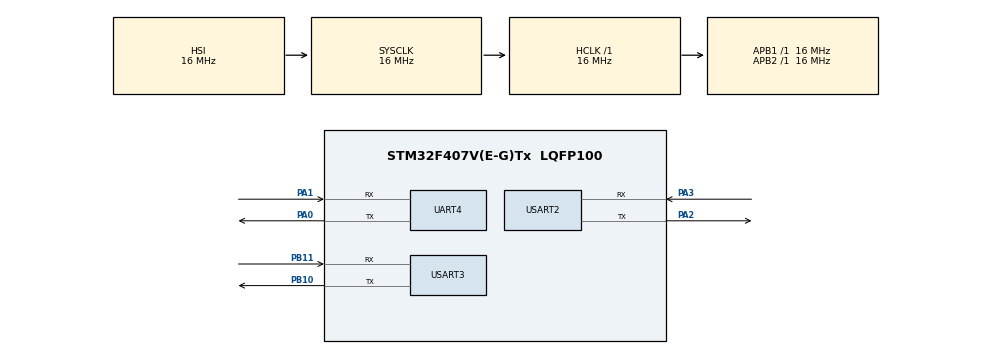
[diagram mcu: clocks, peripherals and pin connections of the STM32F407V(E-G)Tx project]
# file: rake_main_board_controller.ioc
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Mcu.Family=STM32F4
Mcu.Name=STM32F407V(E-G)Tx
Mcu.Package=LQFP100
NVIC.PriorityGroup=NVIC_PRIORITYGROUP_4
NVIC.TIM2_IRQn=true\:0\:0\:false\:false\:true\:true\:true
NVIC.UART4_IRQn=true\:0\:0\:false\:false\:true\:true\:true
NVIC.USART2_IRQn=true\:0\:0\:false\:false\:true\:true\:true
NVIC.USART3_IRQn=true\:0\:0\:false\:false\:true\:true\:true
PA0-WKUP.Mode=Asynchronous
PA0-WKUP.Signal=UART4_TX
PA1.Mode=Asynchronous
PA1.Signal=UART4_RX
PA13.Mode=Serial_Wire
PA13.Signal=SYS_JTMS-SWDIO
PA14.Mode=Serial_Wire
PA14.Signal=SYS_JTCK-SWCLK
PA2.Mode=Asynchronous
PA2.Signal=USART2_TX
PA3.Mode=Asynchronous
PA3.Signal=USART2_RX
PB10.Mode=Asynchronous
PB10.Signal=USART3_TX
PB11.Mode=Asynchronous
PB11.Signal=USART3_RX
PH0-OSC_IN.Mode=HSE-External-Oscillator
PH0-OSC_IN.Signal=RCC_OSC_IN
PH1-OSC_OUT.Mode=HSE-External-Oscillator
PH1-OSC_OUT.Signal=RCC_OSC_OUT
ProjectManager.HeapSize=0x200
ProjectManager.StackSize=0x400
ProjectManager.TargetToolchain=MDK-ARM V5
RCC.AHBFreq_Value=16000000
RCC.APB1Freq_Value=16000000
RCC.APB2Freq_Value=16000000
RCC.CortexFreq_Value=16000000
RCC.HSE_VALUE=25000000
RCC.HSI_VALUE=16000000
RCC.LSE_VALUE=32768
RCC.SYSCLKFreq_VALUE=16000000
RCC.VCOOutputFreq_Value=192000000
TIM2.Period=999
TIM2.Prescaler=15
UART4.VirtualMode=Asynchronous
USART2.VirtualMode=VM_ASYNC
USART3.VirtualMode=VM_ASYNC
VP_TIM2_VS_ClockSourceINT.Mode=Internal
board=custom

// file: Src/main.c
/* USER CODE BEGIN Header */
/**
  ******************************************************************************
  * @file           : main.c
  * @brief          : Main program body
  ******************************************************************************
  ** This notice applies to any and all portions of this file
  * that are not between comment pairs USER CODE BEGIN and
  * USER CODE END. Other portions of this file, whether
  * inserted by the user or by software development tools
  * are owned by their respective copyright owners.
  *
  * COPYRIGHT(c) 2021 STMicroelectronics
  *
  * Redistribution and use in source and binary forms, with or without modification,
  * are permitted provided that the following conditions are met:
  *   1. Redistributions of source code must retain the above copyright notice,
  *      this list of conditions and the following disclaimer.
  *   2. Redistributions in binary form must reproduce the above copyright notice,
  *      this list of conditions and the following disclaimer in the documentation
  *      and/or other materials provided with the distribution.
  *   3. Neither the name of STMicroelectronics nor the names of its contributors
  *      may be used to endorse or promote products derived from this software
  *      without specific prior written permission.
  *
  * THIS SOFTWARE IS PROVIDED BY THE COPYRIGHT HOLDERS AND CONTRIBUTORS "AS IS"
  * AND ANY EXPRESS OR IMPLIED WARRANTIES, INCLUDING, BUT NOT LIMITED TO, THE
  * IMPLIED WARRANTIES OF MERCHANTABILITY AND FITNESS FOR A PARTICULAR PURPOSE ARE
  * DISCLAIMED. IN NO EVENT SHALL THE COPYRIGHT HOLDER OR CONTRIBUTORS BE LIABLE
  * FOR ANY DIRECT, INDIRECT, INCIDENTAL, SPECIAL, EXEMPLARY, OR CONSEQUENTIAL
  * DAMAGES (INCLUDING, BUT NOT LIMITED TO, PROCUREMENT OF SUBSTITUTE GOODS OR
  * SERVICES; LOSS OF USE, DATA, OR PROFITS; OR BUSINESS INTERRUPTION) HOWEVER
  * CAUSED AND ON ANY THEORY OF LIABILITY, WHETHER IN CONTRACT, STRICT LIABILITY,
  * OR TORT (INCLUDING NEGLIGENCE OR OTHERWISE) ARISING IN ANY WAY OUT OF THE USE
  * OF THIS SOFTWARE, EVEN IF ADVISED OF THE POSSIBILITY OF SUCH DAMAGE.
  *
  ******************************************************************************
  */
/* USER CODE END Header */
#include "main.h"

/* USER CODE BEGIN PD */

#define TX_TIME 99

/* USER CODE END PD */

TIM_HandleTypeDef htim2;

UART_HandleTypeDef huart4;
UART_HandleTypeDef huart2;
UART_HandleTypeDef huart3;

/* USER CODE BEGIN PV */

typedef struct uartStruct {
	unsigned char rxData[14];
	unsigned char txBuffer[30];
	unsigned char rxBuffer[30];
	uint16_t txBufferLen;
} uart;

uart pc_uart;
uart motor1_uart;
uart motor2_uart;

typedef struct flagStruct {
	struct {
		_Bool motorForward_bit;
		_Bool motorBackward_bit;
		_Bool UART_bit;
		_Bool CANBUS_bit;
		_Bool adminMode_bit;
		_Bool testMode_bit;
		_Bool normalMode_bit;
		_Bool ERROR_bit;
	} LED;
	struct {
		uint8_t rxIndex_bool;
		_Bool rxComplete_bool;
	} UART;
}flag;

flag pc_flag;
flag motor1_flag;
flag motor2_flag;

//struct flagStruct flag = {{0,0,0,0,0,0,0,0},{0,0}};

typedef struct motorStruct {
	uint32_t RPM_u32;
	_Bool direction;
} desired;

desired motor1;
desired motor2;

uint16_t communicationUART_u16 = 0;

/* USER CODE END PV */

void SystemClock_Config(void);
static void MX_GPIO_Init(void);
static void MX_USART2_UART_Init(void);
static void MX_USART3_UART_Init(void);
static void MX_TIM2_Init(void);
static void MX_UART4_Init(void);
/* USER CODE BEGIN PFP */

//Timer interrupti geldigi zaman communicationUART_u16 degeri arttirildi
void HAL_TIM_PeriodElapsedCallback(TIM_HandleTypeDef *htim) {
	if(htim->Instance == TIM2) {
		communicationUART_u16++;
	}
}

//UART dan veri geldiginde verinin alinmasi saglandi
void RAKE_UART_Callback(uart *uart, UART_HandleTypeDef *huart,flag flag) {

		flag.LED.UART_bit = 1;

		//RX Buffer sifirlandi
		if(flag.UART.rxIndex_bool == 0) {
			for(uint8_t index; index < 30; index++) {
				uart->rxBuffer[index] = 0;
			}
		}
		if(uart->rxData[0] == 'S') {
			flag.UART.rxIndex_bool = 0;
		}

		//RX Buffer a veriler yazildi
		if(uart->rxData[0] != 'F'){
			uart->rxBuffer[flag.UART.rxIndex_bool++] = uart->rxData[0];
		} else {
			flag.UART.rxIndex_bool = 0;
			flag.UART.rxComplete_bool = 1;
		}

		HAL_UART_Receive_IT(huart, uart->rxData, 1);
}

/* USER CODE END PFP */

/* USER CODE BEGIN 0 */

//UART interrupti geldigi zaman gelen veriye göre pc ve STM32F103 lerden veri alimi saglandi
void HAL_UART_RxCpltCallback(UART_HandleTypeDef *huart) {
	if(huart->Instance == UART4){
		RAKE_UART_Callback(&pc_uart, &huart4, pc_flag);
	}else {
		pc_flag.LED.UART_bit = 0;
	}
	if(huart->Instance == USART2){
		RAKE_UART_Callback(&motor1_uart, &huart2, motor1_flag);
	}else {
		motor1_flag.LED.UART_bit = 0;
	}
	if(huart->Instance == USART3){
		RAKE_UART_Callback(&motor2_uart, &huart3, motor2_flag);
	}else {
		motor2_flag.LED.UART_bit = 0;
	}
}

//UART dan gelen veriyi kontrol edip motorun RPM ve direction degerleri belirlendi
void RAKE_Rx_Motor_Speed(void) {
	if(pc_flag.UART.rxComplete_bool == 1) {
		if(pc_uart.rxBuffer[10] == 'C') {

			//String olarak alinan degerler int e cevirildi
			motor1.RPM_u32 	=
															(pc_uart.rxBuffer[2] - '0') * 100 +
															(pc_uart.rxBuffer[3] - '0') * 10 +
															(pc_uart.rxBuffer[4] - '0');
			motor1.direction =
															(pc_uart.rxBuffer[1] - '0');

			motor2.RPM_u32 	=
															(pc_uart.rxBuffer[7] - '0') * 100 +
															(pc_uart.rxBuffer[8] - '0') * 10 +
															(pc_uart.rxBuffer[9] - '0');
			motor2.direction =
															(pc_uart.rxBuffer[6] - '0');

			pc_flag.UART.rxComplete_bool = 0;
		}
	}
}

void RAKE_Tx_Motor_Speed(void) {
	if(communicationUART_u16 > TX_TIME){
		/*
			Data Type --> "SavvvCF"
			S = Start								(char)
			a = measured.direction 	(integer)
			vvv = measured.RPM			(char[3])
			C = Control							(char)
			F = Finish							(char)
		*/

		//RPM ve direction verileri motorlara gönderildi
		int hun = 0, ten = 0, one = 0;

		hun = (motor1.RPM_u32 / 100);
		ten	= (motor1.RPM_u32 % 100) / 10;
		one	= (motor1.RPM_u32 % 10);

		motor1_uart.txBufferLen = sprintf(motor1_uart.txBuffer, "S%d%d%d%dCF",
															 motor1.direction, hun, ten, one);

		HAL_UART_Transmit_IT(&huart2, motor1_uart.txBuffer, motor1_uart.txBufferLen);

		hun = (motor2.RPM_u32 / 100);
		ten	= (motor2.RPM_u32 % 100) / 10;
		one	= (motor2.RPM_u32 % 10);

		motor2_uart.txBufferLen = sprintf(motor2_uart.txBuffer, "S%d%d%d%dCF",
															 motor2.direction, hun, ten, one);

		HAL_UART_Transmit_IT(&huart3, motor2_uart.txBuffer, motor2_uart.txBufferLen);

		//Motorlardan gelen veriler istenilen data formatina cevirildi
		strcat(motor1_uart.rxBuffer, motor2_uart.rxBuffer);
		motor1_uart.rxBuffer[12] = 'F';
		for (int c = 6 - 1; c < 12 - 1; c++) {
			motor1_uart.rxBuffer[c] = motor1_uart.rxBuffer[c+1];
		}
		motor1_uart.rxBuffer[5] = '-';
    strcpy(&motor1_uart.rxBuffer[10], &motor1_uart.rxBuffer[10 + 1]);

		HAL_UART_Transmit_IT(&huart4, motor1_uart.rxBuffer, sizeof(motor1_uart.rxBuffer));

		communicationUART_u16 = 0;
	}

}

/* USER CODE END 0 */

int main(void)
{

  /* MCU Configuration--------------------------------------------------------*/

  /* Reset of all peripherals, Initializes the Flash interface and the Systick. */
  HAL_Init();

  /* Configure the system clock */
  SystemClock_Config();

  /* Initialize all configured peripherals */
  MX_GPIO_Init();
  MX_USART2_UART_Init();
  MX_USART3_UART_Init();
  MX_TIM2_Init();
  MX_UART4_Init();
  /* USER CODE BEGIN 2 */

	//Baslangicta UART dan veri alma islemi gerceklestirildi
	HAL_UART_Receive_IT(&huart4, pc_uart.rxData, 1);
	HAL_UART_Receive_IT(&huart2, motor1_uart.rxData, 1);
	HAL_UART_Receive_IT(&huart3, motor2_uart.rxData, 1);

	//Baslangicta TIM_Interrupt baslatildi
	HAL_TIM_Base_Start_IT(&htim2);

  /* USER CODE END 2 */

  /* Infinite loop */
  while (1)
  {

    /* USER CODE BEGIN 3 */

		RAKE_Rx_Motor_Speed();
		RAKE_Tx_Motor_Speed();

  }
  /* USER CODE END 3 */
}

void SystemClock_Config(void)
{
  RCC_OscInitTypeDef RCC_OscInitStruct = {0};
  RCC_ClkInitTypeDef RCC_ClkInitStruct = {0};

  /** Configure the main internal regulator output voltage
  */
  __HAL_RCC_PWR_CLK_ENABLE();
  __HAL_PWR_VOLTAGESCALING_CONFIG(PWR_REGULATOR_VOLTAGE_SCALE1);
  /** Initializes the RCC Oscillators according to the specified parameters
  * in the RCC_OscInitTypeDef structure.
  */
  RCC_OscInitStruct.OscillatorType = RCC_OSCILLATORTYPE_HSI;
  RCC_OscInitStruct.HSIState = RCC_HSI_ON;
  RCC_OscInitStruct.HSICalibrationValue = RCC_HSICALIBRATION_DEFAULT;
  RCC_OscInitStruct.PLL.PLLState = RCC_PLL_NONE;
  if (HAL_RCC_OscConfig(&RCC_OscInitStruct) != HAL_OK)
  {
    Error_Handler();
  }
  /** Initializes the CPU, AHB and APB buses clocks
  */
  RCC_ClkInitStruct.ClockType = RCC_CLOCKTYPE_HCLK|RCC_CLOCKTYPE_SYSCLK
                              |RCC_CLOCKTYPE_PCLK1|RCC_CLOCKTYPE_PCLK2;
  RCC_ClkInitStruct.SYSCLKSource = RCC_SYSCLKSOURCE_HSI;
  RCC_ClkInitStruct.AHBCLKDivider = RCC_SYSCLK_DIV1;
  RCC_ClkInitStruct.APB1CLKDivider = RCC_HCLK_DIV1;
  RCC_ClkInitStruct.APB2CLKDivider = RCC_HCLK_DIV1;

  if (HAL_RCC_ClockConfig(&RCC_ClkInitStruct, FLASH_LATENCY_0) != HAL_OK)
  {
    Error_Handler();
  }
}

static void MX_TIM2_Init(void)
{

  TIM_ClockConfigTypeDef sClockSourceConfig = {0};
  TIM_MasterConfigTypeDef sMasterConfig = {0};

  htim2.Instance = TIM2;
  htim2.Init.Prescaler = 15;
  htim2.Init.CounterMode = TIM_COUNTERMODE_UP;
  htim2.Init.Period = 999;
  htim2.Init.ClockDivision = TIM_CLOCKDIVISION_DIV1;
  htim2.Init.AutoReloadPreload = TIM_AUTORELOAD_PRELOAD_DISABLE;
  if (HAL_TIM_Base_Init(&htim2) != HAL_OK)
  {
    Error_Handler();
  }
  sClockSourceConfig.ClockSource = TIM_CLOCKSOURCE_INTERNAL;
  if (HAL_TIM_ConfigClockSource(&htim2, &sClockSourceConfig) != HAL_OK)
  {
    Error_Handler();
  }
  sMasterConfig.MasterOutputTrigger = TIM_TRGO_RESET;
  sMasterConfig.MasterSlaveMode = TIM_MASTERSLAVEMODE_DISABLE;
  if (HAL_TIMEx_MasterConfigSynchronization(&htim2, &sMasterConfig) != HAL_OK)
  {
    Error_Handler();
  }

}

static void MX_UART4_Init(void)
{

  huart4.Instance = UART4;
  huart4.Init.BaudRate = 115200;
  huart4.Init.WordLength = UART_WORDLENGTH_8B;
  huart4.Init.StopBits = UART_STOPBITS_1;
  huart4.Init.Parity = UART_PARITY_NONE;
  huart4.Init.Mode = UART_MODE_TX_RX;
  huart4.Init.HwFlowCtl = UART_HWCONTROL_NONE;
  huart4.Init.OverSampling = UART_OVERSAMPLING_16;
  if (HAL_UART_Init(&huart4) != HAL_OK)
  {
    Error_Handler();
  }

}

static void MX_USART2_UART_Init(void)
{

  huart2.Instance = USART2;
  huart2.Init.BaudRate = 115200;
  huart2.Init.WordLength = UART_WORDLENGTH_8B;
  huart2.Init.StopBits = UART_STOPBITS_1;
  huart2.Init.Parity = UART_PARITY_NONE;
  huart2.Init.Mode = UART_MODE_TX_RX;
  huart2.Init.HwFlowCtl = UART_HWCONTROL_NONE;
  huart2.Init.OverSampling = UART_OVERSAMPLING_16;
  if (HAL_UART_Init(&huart2) != HAL_OK)
  {
    Error_Handler();
  }

}

static void MX_USART3_UART_Init(void)
{

  huart3.Instance = USART3;
  huart3.Init.BaudRate = 115200;
  huart3.Init.WordLength = UART_WORDLENGTH_8B;
  huart3.Init.StopBits = UART_STOPBITS_1;
  huart3.Init.Parity = UART_PARITY_NONE;
  huart3.Init.Mode = UART_MODE_TX_RX;
  huart3.Init.HwFlowCtl = UART_HWCONTROL_NONE;
  huart3.Init.OverSampling = UART_OVERSAMPLING_16;
  if (HAL_UART_Init(&huart3) != HAL_OK)
  {
    Error_Handler();
  }

}

static void MX_GPIO_Init(void)
{

  /* GPIO Ports Clock Enable */
  __HAL_RCC_GPIOH_CLK_ENABLE();
  __HAL_RCC_GPIOA_CLK_ENABLE();
  __HAL_RCC_GPIOB_CLK_ENABLE();

}

void Error_Handler(void)
{
}

/************************ (C) COPYRIGHT STMicroelectronics *****END OF FILE****/
